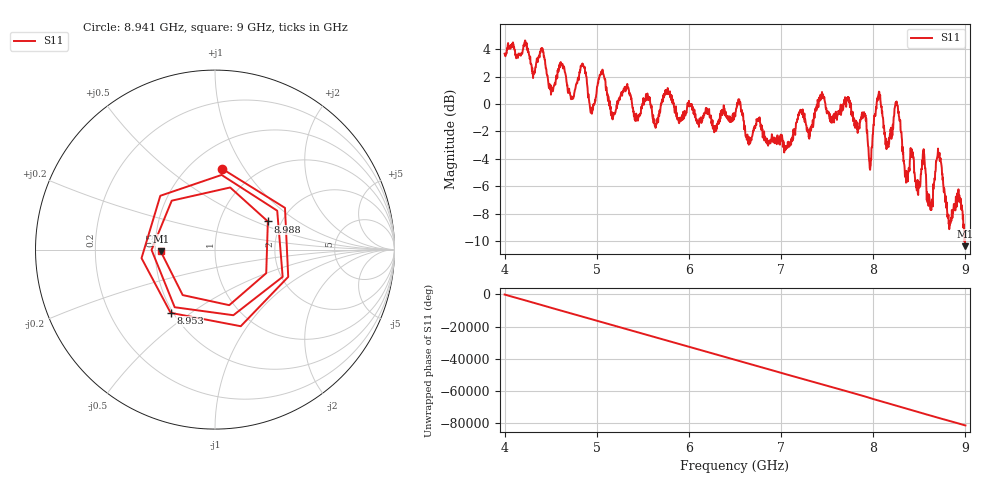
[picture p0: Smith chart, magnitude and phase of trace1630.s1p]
! Created with skrf 1.8.0 (http://scikit-rf.org).
# Hz S RI R 50.0
!freq ReS11 ImS11
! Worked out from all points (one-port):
!   1601 points, 4 GHz to 9 GHz, reference 50 ohm
!   lowest |S11| = -10.4 dB at 9 GHz (marker M1), VSWR 1.87, Z = 26.8 - j0.572 ohm
!   |S11| at or under -10 dB: 8.990679 GHz to 8.99213 GHz (1.45 MHz wide, 0.0161 % of centre); 8.995144 GHz to end of sweep
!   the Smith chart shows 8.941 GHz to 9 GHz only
!   S11 on the Smith chart (normalised r, x): 8.941 GHz: 0.71, +0.80; 8.953 GHz: 0.49, -0.42; 8.988 GHz: 1.70, +0.60; 9 GHz: 0.54, -0.01
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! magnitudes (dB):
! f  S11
! 4 GHz  3.7
! 4.406 GHz  3.9
! 4.503 GHz  0.7
! 4.625 GHz  2.9
! 4.728 GHz  0.4
! 4.856 GHz  2.7
! 4.944 GHz  -0.5
! 5.053 GHz  2.2
! 5.172 GHz  -1.1
! 5.25 GHz  0.3
! 5.875 GHz  -1.1
! 6.5 GHz  -0.8
! 7.125 GHz  -2.7
! 7.75 GHz  0.0
! 7.9 GHz  -0.6
! 7.966 GHz  -4.8
! 8.053 GHz  0.6
! 8.153 GHz  -3.1
! 8.256 GHz  0.0
! 8.375 GHz  -5.6
! 8.547 GHz  -3.3
! 8.622 GHz  -7.7
! 8.712 GHz  -3.9
! 8.825 GHz  -9.1
! 8.941 GHz  -6.9
! 8.953 GHz  -7.3
! 8.988 GHz  -9.5
! 9 GHz  -10.4
